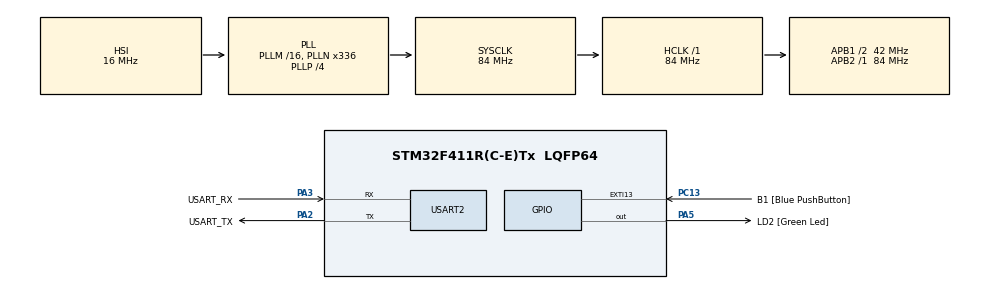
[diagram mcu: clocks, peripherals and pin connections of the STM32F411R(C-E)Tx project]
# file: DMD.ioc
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Mcu.Family=STM32F4
Mcu.Name=STM32F411R(C-E)Tx
Mcu.Package=LQFP64
NVIC.PriorityGroup=NVIC_PRIORITYGROUP_0
PA13.GPIO_Label=TMS
PA13.Mode=Serial_Wire
PA13.Signal=SYS_JTMS-SWDIO
PA14.GPIO_Label=TCK
PA14.Mode=Serial_Wire
PA14.Signal=SYS_JTCK-SWCLK
PA2.GPIO_Label=USART_TX
PA2.Mode=Asynchronous
PA2.Signal=USART2_TX
PA3.GPIO_Label=USART_RX
PA3.Mode=Asynchronous
PA3.Signal=USART2_RX
PA5.GPIO_Label=LD2 [Green Led]
PA5.Signal=GPIO_Output
PB3.GPIO_Label=SWO
PB3.Signal=SYS_JTDO-SWO
PC13-ANTI_TAMP.GPIO_Label=B1 [Blue PushButton]
PC13-ANTI_TAMP.GPIO_ModeDefaultEXTI=GPIO_MODE_IT_FALLING
PC13-ANTI_TAMP.Signal=GPXTI13
PC14-OSC32_IN.Mode=LSE-External-Oscillator
PC14-OSC32_IN.Signal=RCC_OSC32_IN
PC15-OSC32_OUT.Mode=LSE-External-Oscillator
PC15-OSC32_OUT.Signal=RCC_OSC32_OUT
PH0\ -\ OSC_IN.Mode=HSE-External-Clock-Source
PH0\ -\ OSC_IN.Signal=RCC_OSC_IN
PH1\ -\ OSC_OUT.Mode=HSE-External-Clock-Source
PH1\ -\ OSC_OUT.Signal=RCC_OSC_OUT
ProjectManager.HeapSize=0x200
ProjectManager.StackSize=0x400
ProjectManager.TargetToolchain=STM32CubeIDE
RCC.48MHZClocksFreq_Value=84000000
RCC.AHBFreq_Value=84000000
RCC.APB1CLKDivider=RCC_HCLK_DIV2
RCC.APB1Freq_Value=42000000
RCC.APB1TimFreq_Value=84000000
RCC.APB2Freq_Value=84000000
RCC.APB2TimFreq_Value=84000000
RCC.CortexFreq_Value=84000000
RCC.FLatency-AdvancedSettings=FLASH_LATENCY_2
RCC.HCLKFreq_Value=84000000
RCC.HSE_VALUE=8000000
RCC.HSI_VALUE=16000000
RCC.PLLN=336
RCC.PLLP=RCC_PLLP_DIV4
RCC.SYSCLKFreq_VALUE=84000000
RCC.SYSCLKSource=RCC_SYSCLKSOURCE_PLLCLK
RCC.VCOOutputFreq_Value=336000000
USART2.VirtualMode=VM_ASYNC
board=NUCLEO-F411RE

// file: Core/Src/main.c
/* USER CODE BEGIN Header */
/**
  ******************************************************************************
  * @file           : main.c
  * @brief          : Main program body
  ******************************************************************************
  * @attention
  *
  * Copyright (c) 2023 STMicroelectronics.
  * All rights reserved.
  *
  * This software is licensed under terms that can be found in the LICENSE file
  * in the root directory of this software component.
  * If no LICENSE file comes with this software, it is provided AS-IS.
  *
  ******************************************************************************
  */
/* USER CODE END Header */
#include "main.h"

UART_HandleTypeDef huart2;

/* USER CODE BEGIN PV */
uint32_t sa;
uint32_t sv;
uint32_t va;
/* USER CODE END PV */

void SystemClock_Config(void);
static void MX_GPIO_Init(void);
static void MX_USART2_UART_Init(void);

int main(void)
{

  /* MCU Configuration--------------------------------------------------------*/

  /* Reset of all peripherals, Initializes the Flash interface and the Systick. */
  HAL_Init();

  /* Configure the system clock */
  SystemClock_Config();

  /* Initialize all configured peripherals */
  MX_GPIO_Init();
  MX_USART2_UART_Init();

  /* Infinite loop */
  while (1)
  {

  }
}

void SystemClock_Config(void)
{
  RCC_OscInitTypeDef RCC_OscInitStruct = {0};
  RCC_ClkInitTypeDef RCC_ClkInitStruct = {0};

  /** Configure the main internal regulator output voltage
  */
  __HAL_RCC_PWR_CLK_ENABLE();
  __HAL_PWR_VOLTAGESCALING_CONFIG(PWR_REGULATOR_VOLTAGE_SCALE1);

  /** Initializes the RCC Oscillators according to the specified parameters
  * in the RCC_OscInitTypeDef structure.
  */
  RCC_OscInitStruct.OscillatorType = RCC_OSCILLATORTYPE_HSI;
  RCC_OscInitStruct.HSIState = RCC_HSI_ON;
  RCC_OscInitStruct.HSICalibrationValue = RCC_HSICALIBRATION_DEFAULT;
  RCC_OscInitStruct.PLL.PLLState = RCC_PLL_ON;
  RCC_OscInitStruct.PLL.PLLSource = RCC_PLLSOURCE_HSI;
  RCC_OscInitStruct.PLL.PLLM = 16;
  RCC_OscInitStruct.PLL.PLLN = 336;
  RCC_OscInitStruct.PLL.PLLP = RCC_PLLP_DIV4;
  RCC_OscInitStruct.PLL.PLLQ = 4;
  if (HAL_RCC_OscConfig(&RCC_OscInitStruct) != HAL_OK)
  {
    Error_Handler();
  }

  /** Initializes the CPU, AHB and APB buses clocks
  */
  RCC_ClkInitStruct.ClockType = RCC_CLOCKTYPE_HCLK|RCC_CLOCKTYPE_SYSCLK
                              |RCC_CLOCKTYPE_PCLK1|RCC_CLOCKTYPE_PCLK2;
  RCC_ClkInitStruct.SYSCLKSource = RCC_SYSCLKSOURCE_PLLCLK;
  RCC_ClkInitStruct.AHBCLKDivider = RCC_SYSCLK_DIV1;
  RCC_ClkInitStruct.APB1CLKDivider = RCC_HCLK_DIV2;
  RCC_ClkInitStruct.APB2CLKDivider = RCC_HCLK_DIV1;

  if (HAL_RCC_ClockConfig(&RCC_ClkInitStruct, FLASH_LATENCY_2) != HAL_OK)
  {
    Error_Handler();
  }
}

static void MX_USART2_UART_Init(void)
{

  huart2.Instance = USART2;
  huart2.Init.BaudRate = 115200;
  huart2.Init.WordLength = UART_WORDLENGTH_8B;
  huart2.Init.StopBits = UART_STOPBITS_1;
  huart2.Init.Parity = UART_PARITY_NONE;
  huart2.Init.Mode = UART_MODE_TX_RX;
  huart2.Init.HwFlowCtl = UART_HWCONTROL_NONE;
  huart2.Init.OverSampling = UART_OVERSAMPLING_16;
  if (HAL_UART_Init(&huart2) != HAL_OK)
  {
    Error_Handler();
  }

}

static void MX_GPIO_Init(void)
{
  GPIO_InitTypeDef GPIO_InitStruct = {0};

  /* GPIO Ports Clock Enable */
  __HAL_RCC_GPIOC_CLK_ENABLE();
  __HAL_RCC_GPIOH_CLK_ENABLE();
  __HAL_RCC_GPIOA_CLK_ENABLE();
  __HAL_RCC_GPIOB_CLK_ENABLE();

  /*Configure GPIO pin Output Level */
  HAL_GPIO_WritePin(LD2_GPIO_Port, LD2_Pin, GPIO_PIN_RESET);

  /*Configure GPIO pin : B1_Pin */
  GPIO_InitStruct.Pin = B1_Pin;
  GPIO_InitStruct.Mode = GPIO_MODE_IT_FALLING;
  GPIO_InitStruct.Pull = GPIO_NOPULL;
  HAL_GPIO_Init(B1_GPIO_Port, &GPIO_InitStruct);

  /*Configure GPIO pin : LD2_Pin */
  GPIO_InitStruct.Pin = LD2_Pin;
  GPIO_InitStruct.Mode = GPIO_MODE_OUTPUT_PP;
  GPIO_InitStruct.Pull = GPIO_NOPULL;
  GPIO_InitStruct.Speed = GPIO_SPEED_FREQ_LOW;
  HAL_GPIO_Init(LD2_GPIO_Port, &GPIO_InitStruct);

}

/* USER CODE BEGIN 4 */
void Trajectory_Generator(int initial_p,int target_p,uint16_t vmax,uint16_t amax,uint16_t jmax){
	static uint8_t M = 0;
	static uint8_t N = 0;
	register uint8_t dir = 0;
	//Calculate distance
	int32_t S = target_p - initial_p;
	if (S < 0){
		dir = -1;
	}
	else{
		dir = 1;
	}
	S = abs(S); //Calculate the requireed distance

	//Check for the feasibility of the trajectory
	if(vmax*jamx = amax^2){
		M = 1;
		N = 0;
	}
	else{
		M = 0;
		N = 1;
	}

	//Calculate the values of va,sa,sa
	va =  (amax^2)/jmax;
	sa = (2*amax^3)/(jmax^2);
	sv = vmax*((M * 2 * (vmax/jmax)^1/2) + N*((vmax/amax)+(amax/jmax)));
}
/* USER CODE END 4 */

void Error_Handler(void)
{
  __disable_irq();
  while (1)
  {
  }
}
